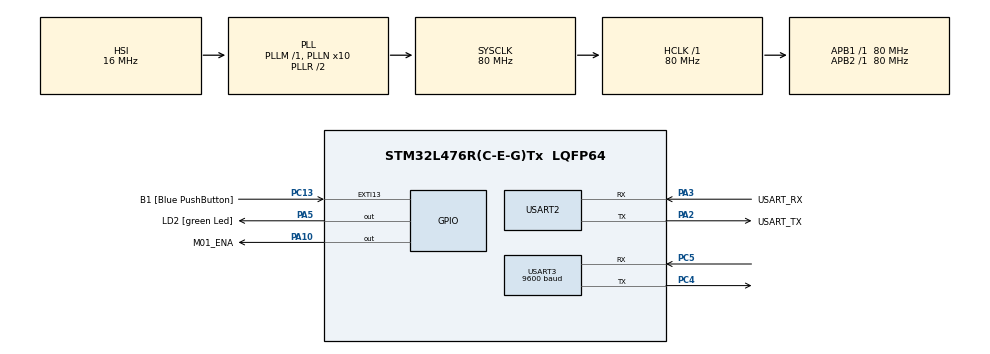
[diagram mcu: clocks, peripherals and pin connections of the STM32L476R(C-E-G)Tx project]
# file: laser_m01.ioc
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Dma.Request0=USART3_RX
Dma.USART3_RX.0.Direction=DMA_PERIPH_TO_MEMORY
Dma.USART3_RX.0.Instance=DMA1_Channel3
Dma.USART3_RX.0.MemDataAlignment=DMA_MDATAALIGN_BYTE
Dma.USART3_RX.0.MemInc=DMA_MINC_ENABLE
Dma.USART3_RX.0.Mode=DMA_CIRCULAR
Dma.USART3_RX.0.PeriphDataAlignment=DMA_PDATAALIGN_BYTE
Dma.USART3_RX.0.PeriphInc=DMA_PINC_DISABLE
Dma.USART3_RX.0.Priority=DMA_PRIORITY_HIGH
Mcu.Family=STM32L4
Mcu.Name=STM32L476R(C-E-G)Tx
Mcu.Package=LQFP64
NVIC.DMA1_Channel3_IRQn=true\:0\:0\:false\:false\:true\:false\:true\:true
NVIC.FPU_IRQn=true\:0\:0\:false\:false\:true\:true\:false\:true
NVIC.PriorityGroup=NVIC_PRIORITYGROUP_4
PA10.GPIO_Label=M01_ENA
PA10.Signal=GPIO_Output
PA13\ (JTMS-SWDIO).GPIO_Label=TMS
PA13\ (JTMS-SWDIO).Mode=Serial_Wire
PA13\ (JTMS-SWDIO).Signal=SYS_JTMS-SWDIO
PA14\ (JTCK-SWCLK).GPIO_Label=TCK
PA14\ (JTCK-SWCLK).Mode=Serial_Wire
PA14\ (JTCK-SWCLK).Signal=SYS_JTCK-SWCLK
PA2.GPIO_Label=USART_TX
PA2.GPIO_Mode=GPIO_MODE_AF_PP
PA2.GPIO_PuPd=GPIO_NOPULL
PA2.GPIO_Speed=GPIO_SPEED_FREQ_VERY_HIGH
PA2.Mode=Asynchronous
PA2.Signal=USART2_TX
PA3.GPIO_Label=USART_RX
PA3.GPIO_Mode=GPIO_MODE_AF_PP
PA3.GPIO_PuPd=GPIO_NOPULL
PA3.GPIO_Speed=GPIO_SPEED_FREQ_VERY_HIGH
PA3.Mode=Asynchronous
PA3.Signal=USART2_RX
PA5.GPIO_Label=LD2 [green Led]
PA5.GPIO_ModeDefaultOutputPP=GPIO_MODE_OUTPUT_PP
PA5.GPIO_PuPd=GPIO_NOPULL
PA5.GPIO_Speed=GPIO_SPEED_FREQ_LOW
PA5.Signal=GPIO_Output
PB3\ (JTDO-TRACESWO).GPIO_Label=SWO
PB3\ (JTDO-TRACESWO).Signal=SYS_JTDO-SWO
PC13.GPIO_Label=B1 [Blue PushButton]
PC13.GPIO_ModeDefaultEXTI=GPIO_MODE_IT_FALLING
PC13.GPIO_PuPd=GPIO_NOPULL
PC13.Signal=GPXTI13
PC14-OSC32_IN\ (PC14).Mode=LSE-External-Oscillator
PC14-OSC32_IN\ (PC14).Signal=RCC_OSC32_IN
PC15-OSC32_OUT\ (PC15).Mode=LSE-External-Oscillator
PC15-OSC32_OUT\ (PC15).Signal=RCC_OSC32_OUT
PC4.Mode=Asynchronous
PC4.Signal=USART3_TX
PC5.Mode=Asynchronous
PC5.Signal=USART3_RX
PH0-OSC_IN\ (PH0).Signal=RCC_OSC_IN
PH1-OSC_OUT\ (PH1).Signal=RCC_OSC_OUT
ProjectManager.HeapSize=0x200
ProjectManager.StackSize=0x400
ProjectManager.TargetToolchain=STM32CubeIDE
RCC.ADCFreq_Value=64000000
RCC.AHBFreq_Value=80000000
RCC.APB1Freq_Value=80000000
RCC.APB1TimFreq_Value=80000000
RCC.APB2Freq_Value=80000000
RCC.APB2TimFreq_Value=80000000
RCC.CortexFreq_Value=80000000
RCC.HCLKFreq_Value=80000000
RCC.HSE_VALUE=8000000
RCC.HSI_VALUE=16000000
RCC.MSI_VALUE=4000000
RCC.PLLN=10
RCC.PLLSourceVirtual=RCC_PLLSOURCE_HSI
RCC.PREFETCH_ENABLE=1
RCC.SYSCLKFreq_VALUE=80000000
RCC.SYSCLKSource=RCC_SYSCLKSOURCE_PLLCLK
RCC.USBFreq_Value=64000000
RCC.VCOOutputFreq_Value=160000000
USART2.VirtualMode-Asynchronous=VM_ASYNC
USART3.BaudRate=9600
USART3.VirtualMode-Asynchronous=VM_ASYNC
board=NUCLEO-L476RG

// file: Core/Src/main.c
/* USER CODE BEGIN Header */
/**
 ******************************************************************************
 * @file           : main.c
 * @brief          : Main program body
 ******************************************************************************
 * @attention
 *
 * Copyright (c) 2025 STMicroelectronics.
 * All rights reserved.
 *
 * This software is licensed under terms that can be found in the LICENSE file
 * in the root directory of this software component.
 * If no LICENSE file comes with this software, it is provided AS-IS.
 *
 ******************************************************************************
 */
/* USER CODE END Header */
#include "main.h"
#include "dma.h"
#include "usart.h"
#include "gpio.h"

/* USER CODE BEGIN Includes */
#include <stdio.h>
#include <string.h>
#include <stdbool.h>
#include <math.h>
#include "laser_m01.h"
/* USER CODE END Includes */

/* USER CODE BEGIN PV */
float lastMeters = NAN;
/* USER CODE END PV */

void SystemClock_Config(void);

int main(void) {

	/* MCU Configuration--------------------------------------------------------*/

	/* Reset of all peripherals, Initializes the Flash interface and the Systick. */
	HAL_Init();

	/* Configure the system clock */
	SystemClock_Config();

	/* Initialize all configured peripherals */
	MX_GPIO_Init();
	MX_DMA_Init();
	MX_USART2_UART_Init();
	MX_USART3_UART_Init();
	/* USER CODE BEGIN 2 */
	M01_Init(&huart3, M01_ENA_GPIO_Port, M01_ENA_Pin);
	printf("\r\n--- STM32 M01 Ranger ---\r\n");
	printf("Q=Measure L=ON K=OFF R=Reset\r\n");
	/* USER CODE END 2 */

	/* Infinite loop */
	/* USER CODE BEGIN WHILE */
	uint8_t pc_rx_buffer[1]; // Bufor na 1 znak z PC

	while (1) {
		/* USER CODE END WHILE */

		/* USER CODE BEGIN 3 */
		// 1. Obsługa komend z PC (nieblokująca - timeout 1ms)
		// Sprawdzamy czy coś przyszło na UART2 (USB)
		if (HAL_UART_Receive(&huart2, pc_rx_buffer, 1, 1) == HAL_OK) {
			char c = pc_rx_buffer[0];
			// Konwersja na wielkie litery (prowizoryczna)
			if (c >= 'a' && c <= 'z')
				c -= 32;

			if (c == 'Q')
				M01_QuickRead();
			else if (c == 'L')
				M01_LaserOn();
			else if (c == 'K')
				M01_LaserOff();
			else if (c == 'R')
				M01_Reset();
		}
	}
	/* USER CODE END 3 */
}

void SystemClock_Config(void) {
	RCC_OscInitTypeDef RCC_OscInitStruct = { 0 };
	RCC_ClkInitTypeDef RCC_ClkInitStruct = { 0 };

	/** Configure the main internal regulator output voltage
	 */
	if (HAL_PWREx_ControlVoltageScaling(PWR_REGULATOR_VOLTAGE_SCALE1)
			!= HAL_OK) {
		Error_Handler();
	}

	/** Initializes the RCC Oscillators according to the specified parameters
	 * in the RCC_OscInitTypeDef structure.
	 */
	RCC_OscInitStruct.OscillatorType = RCC_OSCILLATORTYPE_HSI;
	RCC_OscInitStruct.HSIState = RCC_HSI_ON;
	RCC_OscInitStruct.HSICalibrationValue = RCC_HSICALIBRATION_DEFAULT;
	RCC_OscInitStruct.PLL.PLLState = RCC_PLL_ON;
	RCC_OscInitStruct.PLL.PLLSource = RCC_PLLSOURCE_HSI;
	RCC_OscInitStruct.PLL.PLLM = 1;
	RCC_OscInitStruct.PLL.PLLN = 10;
	RCC_OscInitStruct.PLL.PLLP = RCC_PLLP_DIV7;
	RCC_OscInitStruct.PLL.PLLQ = RCC_PLLQ_DIV2;
	RCC_OscInitStruct.PLL.PLLR = RCC_PLLR_DIV2;
	if (HAL_RCC_OscConfig(&RCC_OscInitStruct) != HAL_OK) {
		Error_Handler();
	}

	/** Initializes the CPU, AHB and APB buses clocks
	 */
	RCC_ClkInitStruct.ClockType = RCC_CLOCKTYPE_HCLK | RCC_CLOCKTYPE_SYSCLK
			| RCC_CLOCKTYPE_PCLK1 | RCC_CLOCKTYPE_PCLK2;
	RCC_ClkInitStruct.SYSCLKSource = RCC_SYSCLKSOURCE_PLLCLK;
	RCC_ClkInitStruct.AHBCLKDivider = RCC_SYSCLK_DIV1;
	RCC_ClkInitStruct.APB1CLKDivider = RCC_HCLK_DIV1;
	RCC_ClkInitStruct.APB2CLKDivider = RCC_HCLK_DIV1;

	if (HAL_RCC_ClockConfig(&RCC_ClkInitStruct, FLASH_LATENCY_4) != HAL_OK) {
		Error_Handler();
	}
}

void Error_Handler(void) {
	__disable_irq();
	while (1) {
	}
}
